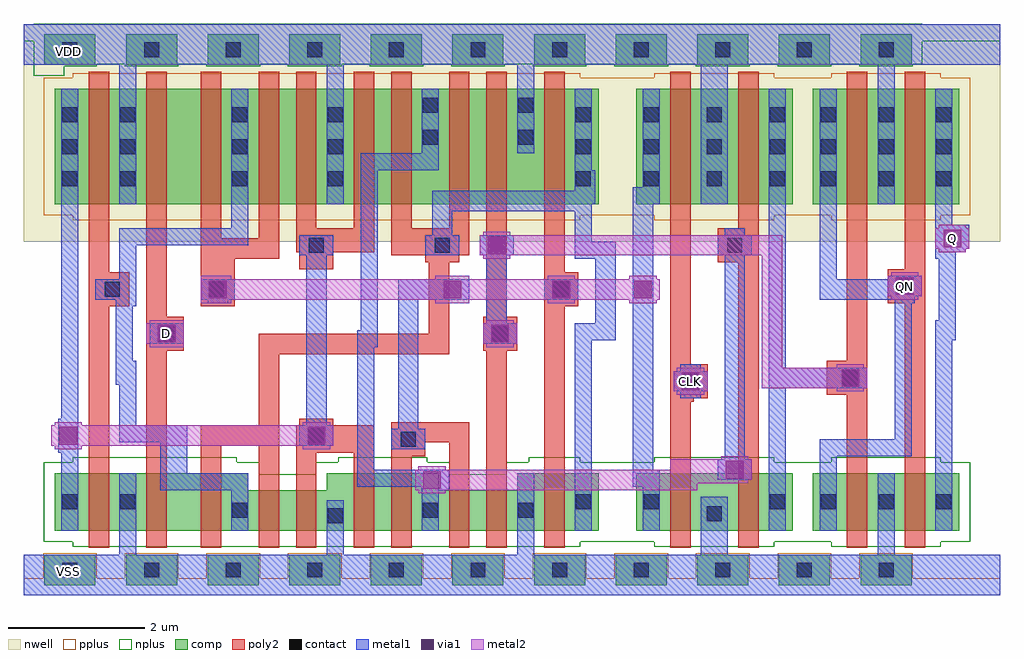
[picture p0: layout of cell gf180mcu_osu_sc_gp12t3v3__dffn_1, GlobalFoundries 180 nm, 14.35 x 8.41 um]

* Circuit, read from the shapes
.subckt gf180mcu_osu_sc_gp12t3v3__dffn_1 CLK D Q QN VDD VSS
XM1 VSS n1 n2 VSS nfet_03v3 w=0.85u l=0.3u
XM2 n3 D VSS VSS nfet_03v3 w=0.85u l=0.3u
XM3 n1 n4 n3 VSS nfet_03v3 w=0.85u l=0.3u
XM4 n5 n4 n1 VSS nfet_03v3 w=0.6u l=0.3u
XM5 VSS n2 n5 VSS nfet_03v3 w=0.6u l=0.3u
XM6 n6 n2 VSS VSS nfet_03v3 w=0.85u l=0.3u
XM7 n7 n8 n6 VSS nfet_03v3 w=0.85u l=0.3u
XM8 n9 n8 n7 VSS nfet_03v3 w=0.6u l=0.3u
XM9 VSS n10 n9 VSS nfet_03v3 w=0.6u l=0.3u
XM10 n4 n8 VSS VSS nfet_03v3 w=0.85u l=0.3u
XM11 VSS CLK n8 VSS nfet_03v3 w=0.85u l=0.3u
XM12 n10 n7 VSS VSS nfet_03v3 w=0.85u l=0.3u
XM13 VSS n10 QN VSS nfet_03v3 w=0.85u l=0.3u
XM14 Q QN VSS VSS nfet_03v3 w=0.85u l=0.3u
XM15 VDD n1 n2 VDD pfet_03v3 w=1.7u l=0.3u
XM16 n11 D VDD VDD pfet_03v3 w=1.7u l=0.3u
XM17 n1 n8 n11 VDD pfet_03v3 w=1.7u l=0.3u
XM18 n12 n8 n1 VDD pfet_03v3 w=1.7u l=0.3u
XM19 VDD n2 n12 VDD pfet_03v3 w=1.7u l=0.3u
XM20 n13 n2 VDD VDD pfet_03v3 w=1.7u l=0.3u
XM21 n7 n4 n13 VDD pfet_03v3 w=1.7u l=0.3u
XM22 n14 n4 n7 VDD pfet_03v3 w=1.7u l=0.3u
XM23 VDD n10 n14 VDD pfet_03v3 w=1.7u l=0.3u
XM24 n4 n8 VDD VDD pfet_03v3 w=1.7u l=0.3u
XM25 VDD CLK n8 VDD pfet_03v3 w=1.7u l=0.3u
XM26 n10 n7 VDD VDD pfet_03v3 w=1.7u l=0.3u
XM27 VDD n10 QN VDD pfet_03v3 w=1.7u l=0.3u
XM28 Q QN VDD VDD pfet_03v3 w=1.7u l=0.3u
.ends

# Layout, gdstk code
import gdstk
lib = gdstk.Library(unit=1e-6, precision=1e-09)
def R(c, l, rs):  # rectangles x0, y0, x1, y1
    for r in rs: c.add(gdstk.rectangle(r[:2], r[2:], *l))
def A(c, l, x, y, w, h, nx, ny, dx, dy):  # array of equal rectangles
    R(c, l, [(x+i*dx, y+j*dy, x+i*dx+w, y+j*dy+h) for i in range(nx) for j in range(ny)])
nwell = (21, 0)
comp = (22, 0)
poly2 = (30, 0)
pplus = (31, 0)
nplus = (32, 0)
contact = (33, 0)
metal1 = (34, 0)
via1 = (35, 0)
metal2 = (36, 0)

gf180mcu_osu_sc_gp12t3v3 = lib.new_cell('gf180mcu_osu_sc_gp12t3v3__dffn_1')
R(gf180mcu_osu_sc_gp12t3v3, nwell, [(0,5.2,14.35,8.4)])
A(gf180mcu_osu_sc_gp12t3v3, comp, 0.3, 0.15, 0.75, 0.45, 11, 2, 1.2, 7.65)
R(gf180mcu_osu_sc_gp12t3v3, comp, [(0.45,0.95,8.45,1.55), (9,0.95,11.3,1.8), (11.6,0.95,13.75,1.8), (0.45,1.55,3.3,1.8), (4.45,1.55,6.1,1.8), (7.25,1.55,8.45,1.8), (0.45,5.75,8.45,7.45), (9,5.75,11.3,7.45), (11.6,5.75,13.75,7.45)])
R(gf180mcu_osu_sc_gp12t3v3, poly2, [(0.95,0.7,1.25,4.25), (1.8,0.7,2.1,3.6), (2.6,0.7,2.9,2.2), (3.45,0.7,3.75,2.2), (4,0.7,4.3,2.1), (4.85,0.7,5.15,2.1), (5.4,0.7,5.7,2.05), (6.25,0.7,6.55,2.25), (6.8,0.7,7.1,3.6), (7.65,0.7,7.95,4.25), (9.5,0.7,9.8,2.85), (10.5,0.7,10.8,4.9), (12.1,0.7,12.4,2.95), (12.95,0.7,13.25,4.3), (5.4,2.05,5.9,2.25), (4,2.1,5.15,2.5), (2.6,2.2,3.75,2.5), (5.4,2.25,6.55,2.55), (3.45,2.5,3.75,3.55), (4.05,2.5,4.55,2.6), (9.5,2.85,9.85,2.9), (9.5,2.9,10.05,3.4), (11.8,2.95,12.4,3.45), (9.5,3.4,9.8,7.7), (12.1,3.45,12.4,7.7), (3.45,3.55,6.25,3.85), (1.8,3.6,2.35,4.1), (6.75,3.6,7.25,4.1), (5.95,3.85,6.25,4.9), (1.8,4.1,2.1,7.7), (6.8,4.1,7.1,7.7), (0.95,4.25,1.55,4.75), (2.6,4.25,3.1,4.95), (7.65,4.25,8.15,4.75), (12.7,4.3,13.25,4.8), (0.95,4.75,1.25,7.7), (7.65,4.75,7.95,7.7), (4.05,4.8,4.55,5.05), (12.95,4.8,13.25,7.7), (5.9,4.9,6.4,5), (10.2,4.9,10.8,5.4), (2.6,4.95,3.75,5.25), (5.4,5,6.55,5.4), (4,5.05,5.15,5.4), (2.6,5.25,2.9,7.7), (3.45,5.25,3.75,7.7), (4,5.4,4.3,7.7), (4.85,5.4,5.15,7.7), (5.4,5.4,5.7,7.7), (6.25,5.4,6.55,7.7), (10.5,5.4,10.8,7.7)])
A(gf180mcu_osu_sc_gp12t3v3, pplus, 0.28, 0.13, 0.79, 0.49, 11, 1, 1.2, 0)
R(gf180mcu_osu_sc_gp12t3v3, pplus, [(0,0,14.35,0.25), (0.72,5.52,8.18,5.59), (9.27,5.52,11.03,5.59), (11.87,5.52,13.48,5.59), (0.29,5.59,13.91,7.61), (0.72,7.61,8.18,7.68), (9.27,7.61,11.03,7.68), (11.87,7.61,13.48,7.68)])
A(gf180mcu_osu_sc_gp12t3v3, nplus, 1.48, 7.78, 0.79, 0.03, 10, 1, 1.2, 0)
R(gf180mcu_osu_sc_gp12t3v3, nplus, [(0.72,0.72,8.18,0.79), (9.27,0.72,11.03,0.79), (11.87,0.72,13.48,0.79), (0.29,0.79,13.91,1.78), (0.29,1.78,3.46,1.96), (4.29,1.78,6.26,1.96), (7.09,1.78,13.91,1.96), (0.72,1.96,3.13,2.03), (4.62,1.96,5.93,2.03), (7.42,1.96,8.18,2.03), (9.27,1.96,11.03,2.03), (11.87,1.96,13.48,2.03), (0.14,7.64,0.59,7.78), (0.14,7.78,1.07,7.81), (0.14,7.81,13.21,8.15), (0,8.15,14.35,8.4), (0,8.15,14.35,8.4), (0.14,8.4,13.21,8.41)])
A(gf180mcu_osu_sc_gp12t3v3, contact, 0.565, 0.265, 0.22, 0.22, 11, 2, 1.2, 7.65)
A(gf180mcu_osu_sc_gp12t3v3, contact, 11.715, 1.265, 0.22, 0.22, 3, 2, 0.85, 4.755)
A(gf180mcu_osu_sc_gp12t3v3, contact, 0.565, 6.02, 0.22, 0.22, 1, 3, 0, 0.47)
A(gf180mcu_osu_sc_gp12t3v3, contact, 1.415, 6.02, 0.22, 0.22, 1, 3, 0, 0.47)
A(gf180mcu_osu_sc_gp12t3v3, contact, 3.065, 6.02, 0.22, 0.22, 1, 3, 0, 0.47)
A(gf180mcu_osu_sc_gp12t3v3, contact, 4.465, 6.02, 0.22, 0.22, 1, 3, 0, 0.47)
A(gf180mcu_osu_sc_gp12t3v3, contact, 8.115, 6.02, 0.22, 0.22, 1, 3, 0, 0.47)
A(gf180mcu_osu_sc_gp12t3v3, contact, 9.115, 6.02, 0.22, 0.22, 3, 3, 0.925, 0.47)
A(gf180mcu_osu_sc_gp12t3v3, contact, 11.715, 6.49, 0.22, 0.22, 3, 2, 0.85, 0.47)
R(gf180mcu_osu_sc_gp12t3v3, contact, [(4.465,1.065,4.685,1.285), (10.04,1.09,10.26,1.31), (3.065,1.14,3.285,1.36), (5.865,1.14,6.085,1.36), (7.265,1.14,7.485,1.36), (0.565,1.265,0.785,1.485), (1.415,1.265,1.635,1.485), (8.115,1.265,8.335,1.485), (9.115,1.265,9.335,1.485), (10.965,1.265,11.185,1.485), (5.54,2.19,5.76,2.41), (4.19,2.24,4.41,2.46), (9.69,3.04,9.91,3.26), (12.04,3.09,12.26,3.31), (1.99,3.74,2.21,3.96), (6.89,3.74,7.11,3.96), (1.19,4.39,1.41,4.61), (2.715,4.39,2.935,4.61), (7.79,4.39,8.01,4.61), (12.84,4.44,13.06,4.66), (4.19,5.04,4.41,5.26), (6.04,5.04,6.26,5.26), (10.34,5.04,10.56,5.26), (5.865,6.63,6.085,6.85), (7.265,6.63,7.485,6.85), (5.865,7.1,6.085,7.32), (7.265,7.1,7.485,7.32)])
R(gf180mcu_osu_sc_gp12t3v3, metal1, [(0,0,14.35,0.6), (1.4,0.6,1.65,1.8), (4.45,0.6,4.7,1.4), (7.25,0.6,7.5,1.8), (9.95,0.6,10.35,1.45), (12.55,0.6,12.8,1.8), (0.55,0.95,0.8,2.1), (3.05,0.95,3.3,1.55), (5.85,0.95,6.1,1.55), (8.1,0.95,8.35,3.75), (9.1,0.95,9.35,1.6), (10.95,0.95,11.2,3.05), (11.7,0.95,11.95,2.05), (13.4,0.95,13.65,3.75), (2,1.55,3.3,1.8), (5.85,1.55,6.25,1.6), (4.9,1.6,6.25,1.85), (8.95,1.6,9.35,1.85), (10.2,1.7,10.7,2), (2,1.8,2.4,2.25), (4.9,1.85,5.15,3.65), (8.95,1.85,9.25,5.75), (10.3,2,10.6,5), (11.7,2.05,13.05,2.3), (0.5,2.1,0.8,2.6), (5.4,2.15,5.9,2.45), (4.05,2.2,4.55,2.5), (1.4,2.25,2.4,2.5), (12.8,2.3,13.05,4.3), (5.5,2.45,5.8,4.35), (1.4,2.5,1.65,3.1), (4.15,2.5,4.45,5), (0.55,2.6,0.8,7.45), (9.65,2.9,9.95,3), (9.55,3,10.05,3.3), (10.95,3.05,12.4,3.35), (1.35,3.1,1.65,3.45), (9.65,3.3,9.95,3.4), (10.95,3.35,11.2,7.45), (1.35,3.45,1.6,4.25), (4.9,3.65,5.2,3.9), (1.85,3.7,2.35,4), (6.75,3.7,7.25,4), (8.1,3.75,8.7,4), (13.4,3.75,13.7,4.05), (4.95,3.9,5.2,6.25), (6.8,4,7.1,5), (8.4,4,8.7,4.95), (13.45,4.05,13.7,4.95), (1.35,4.25,1.65,4.35), (2.7,4.3,3,4.35), (12.8,4.3,13.1,4.35), (1.05,4.35,1.65,4.65), (2.6,4.35,3.1,4.65), (5.5,4.35,6.55,4.65), (7.65,4.35,8.15,4.65), (11.7,4.35,13.1,4.4), (11.7,4.4,13.2,4.65), (1.4,4.65,1.65,5.15), (11.7,4.65,11.95,7.45), (12.7,4.65,13.2,4.7), (8.1,4.95,8.7,5.2), (13.4,4.95,13.7,5.05), (4.05,5,4.55,5.3), (5.9,5,6.4,5.3), (6.7,5,7.2,5.3), (10.2,5,10.7,5.3), (13.4,5.05,13.85,5.1), (13.4,5.1,13.9,5.45), (1.4,5.15,3.3,5.4), (8.1,5.2,8.35,5.65), (6,5.3,6.3,5.65), (10.3,5.3,10.6,5.4), (3.05,5.4,3.3,7.45), (13.4,5.45,13.65,7.45), (6,5.65,8.35,5.75), (1.4,5.75,1.65,7.8), (4.45,5.75,4.7,7.8), (6,5.75,8.4,5.95), (8.95,5.75,9.35,6), (9.95,5.75,10.35,7.8), (12.55,5.75,12.8,7.8), (8.1,5.95,8.4,6.25), (9.1,6,9.35,7.45), (4.95,6.25,6.1,6.5), (8.1,6.25,8.35,7.45), (5.85,6.5,6.1,7.45), (7.25,6.5,7.5,7.8), (0,7.8,14.35,8.4)])
R(gf180mcu_osu_sc_gp12t3v3, via1, [(5.87,1.57,6.13,1.83), (10.32,1.72,10.58,1.98), (0.52,2.22,0.78,2.48), (4.17,2.22,4.43,2.48), (9.67,3.02,9.93,3.28), (12.02,3.07,12.28,3.33), (1.97,3.72,2.23,3.98), (6.87,3.72,7.13,3.98), (2.72,4.37,2.98,4.63), (6.17,4.37,6.43,4.63), (7.77,4.37,8.03,4.63), (8.97,4.37,9.23,4.63), (12.82,4.42,13.08,4.68), (6.82,5.02,7.08,5.28), (13.52,5.12,13.78,5.38)])
R(gf180mcu_osu_sc_gp12t3v3, metal2, [(5.8,1.5,6.2,1.55), (5.75,1.55,9.9,1.65), (5.75,1.65,10.65,1.7), (5.75,1.7,10.7,1.85), (5.8,1.85,6.2,1.9), (9.5,1.85,10.7,2), (10.25,2,10.65,2.05), (0.45,2.15,0.85,2.2), (4.1,2.15,4.5,2.2), (0.4,2.2,4.55,2.5), (0.45,2.5,0.85,2.55), (4.1,2.5,4.5,2.55), (9.6,2.95,10,3), (9.55,3,10.05,3.3), (11.95,3,12.35,3.05), (10.85,3.05,12.4,3.35), (9.6,3.3,10,3.35), (10.85,3.35,11.15,5), (11.95,3.35,12.35,3.4), (1.85,3.65,2.35,3.7), (6.8,3.65,7.2,3.7), (1.8,3.7,2.35,4), (6.75,3.7,7.25,4), (1.85,4,2.35,4.05), (6.8,4,7.2,4.05), (2.6,4.3,3.05,4.35), (6.05,4.3,6.55,4.35), (7.7,4.3,8.1,4.35), (8.9,4.3,9.3,4.35), (2.6,4.35,9.35,4.65), (12.75,4.35,13.15,4.4), (12.7,4.4,13.2,4.7), (2.6,4.65,3.05,4.7), (6.05,4.65,6.55,4.7), (7.7,4.65,8.1,4.7), (8.9,4.65,9.3,4.7), (12.75,4.7,13.15,4.75), (6.75,4.95,7.15,5), (6.7,5,11.15,5.3), (13.45,5.05,13.85,5.1), (13.4,5.1,13.9,5.4), (6.75,5.3,7.15,5.35), (13.45,5.4,13.85,5.45)])
gf180mcu_osu_sc_gp12t3v3.add(gdstk.Label('D', (2.1,3.85), layer=36, texttype=10))
gf180mcu_osu_sc_gp12t3v3.add(gdstk.Label('CLK', (9.8,3.15), layer=36, texttype=10))
gf180mcu_osu_sc_gp12t3v3.add(gdstk.Label('Q', (13.65,5.25), layer=36, texttype=10))
gf180mcu_osu_sc_gp12t3v3.add(gdstk.Label('QN', (12.95,4.55), layer=36, texttype=10))
gf180mcu_osu_sc_gp12t3v3.add(gdstk.Label('VDD', (0.65,8), layer=34, texttype=10))
gf180mcu_osu_sc_gp12t3v3.add(gdstk.Label('VSS', (0.65,0.35), layer=34, texttype=10))

lib.write_gds('gf180mcu_osu_sc_gp12t3v3__dffn_1.gds')
